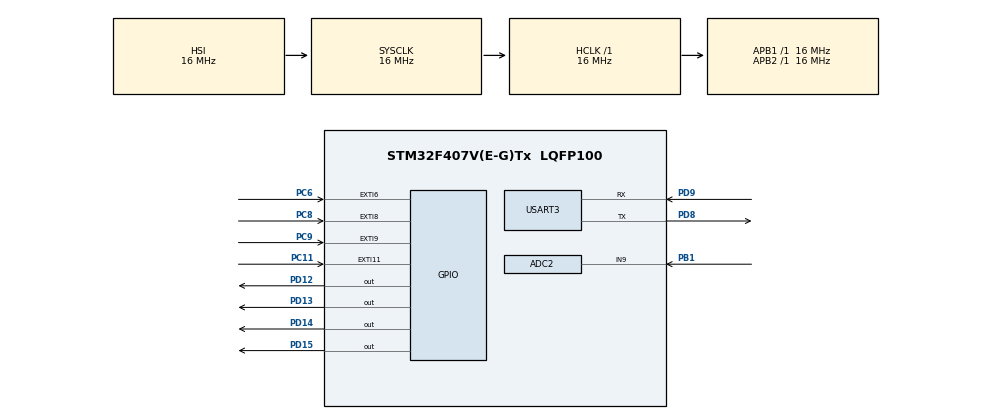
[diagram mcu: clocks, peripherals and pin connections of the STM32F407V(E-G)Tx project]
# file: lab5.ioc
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ADC2.Channel-0\#ChannelRegularConversion=ADC_CHANNEL_9
ADC2.ClockPrescaler=ADC_CLOCK_SYNC_PCLK_DIV8
ADC2.ContinuousConvMode=ENABLE
ADC2.NbrOfConversionFlag=1
ADC2.Rank-0\#ChannelRegularConversion=1
ADC2.SamplingTime-0\#ChannelRegularConversion=ADC_SAMPLETIME_480CYCLES
Mcu.Family=STM32F4
Mcu.Name=STM32F407V(E-G)Tx
Mcu.Package=LQFP100
NVIC.EXTI15_10_IRQn=true\:0\:0\:false\:false\:true\:true\:true
NVIC.EXTI9_5_IRQn=true\:0\:0\:false\:false\:true\:true\:true
NVIC.PriorityGroup=NVIC_PRIORITYGROUP_4
NVIC.TIM4_IRQn=true\:0\:0\:false\:false\:true\:true\:true
PB1.Signal=ADCx_IN9
PC11.Signal=GPXTI11
PC6.Signal=GPXTI6
PC8.Signal=GPXTI8
PC9.Signal=GPXTI9
PD12.Signal=GPIO_Output
PD13.Signal=GPIO_Output
PD14.Signal=GPIO_Output
PD15.Signal=GPIO_Output
PD8.Mode=Asynchronous
PD8.Signal=USART3_TX
PD9.Mode=Asynchronous
PD9.Signal=USART3_RX
ProjectManager.HeapSize=0x200
ProjectManager.StackSize=0x400
ProjectManager.TargetToolchain=STM32CubeIDE
RCC.AHBFreq_Value=16000000
RCC.APB1Freq_Value=16000000
RCC.APB2Freq_Value=16000000
RCC.CortexFreq_Value=16000000
RCC.HSE_VALUE=25000000
RCC.HSI_VALUE=16000000
RCC.LSE_VALUE=32768
RCC.SYSCLKFreq_VALUE=16000000
RCC.VCOOutputFreq_Value=192000000
SH.ADCx_IN9.0=ADC2_IN9,IN9
TIM4.AutoReloadPreload=TIM_AUTORELOAD_PRELOAD_ENABLE
TIM4.Period=10000
TIM4.Prescaler=8000-1
USART3.VirtualMode=VM_ASYNC
VP_TIM4_VS_ClockSourceINT.Mode=Internal
board=custom

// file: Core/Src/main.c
/* USER CODE BEGIN Header */
/**
  ******************************************************************************
  * @file           : main.c
  * @brief          : Main program body
  ******************************************************************************
  * @attention
  *
  * <h2><center>&copy; Copyright (c) 2021 STMicroelectronics.
  * All rights reserved.</center></h2>
  *
  * This software component is licensed by ST under BSD 3-Clause license,
  * the "License"; You may not use this file except in compliance with the
  * License. You may obtain a copy of the License at:
  *                        opensource.org/licenses/BSD-3-Clause
  *
  ******************************************************************************
  */
/* USER CODE END Header */
#include "main.h"

/* USER CODE BEGIN Includes */
#include <stdio.h>
/* USER CODE END Includes */

ADC_HandleTypeDef hadc2;

TIM_HandleTypeDef htim4;

UART_HandleTypeDef huart3;

void SystemClock_Config(void);
static void MX_GPIO_Init(void);
static void MX_TIM4_Init(void);
static void MX_USART3_UART_Init(void);
static void MX_ADC2_Init(void);

/* USER CODE BEGIN 0 */

uint8_t rcvBuf[1];
HAL_StatusTypeDef result;

uint32_t adcValue = 0;
volatile HAL_StatusTypeDef adcPoolResult;

uint8_t flag = 0;
uint8_t buf[32];

enum
{
	Green,
	Orange,
	Red,
	Blue,
	OFF = 0,
	ON
};

void Flag_set()
{
	flag = ON;
}

void Output_temp()//every 5 second
{
	if(flag == ON)
	{
		HAL_ADC_Start(&hadc2);
		adcPoolResult = HAL_ADC_PollForConversion(&hadc2, 1);

		if(adcPoolResult == HAL_OK)
		  adcValue = HAL_ADC_GetValue(&hadc2);
		HAL_ADC_Stop(&hadc2);
		adcValue = (2700-adcValue)/27;

		HAL_UART_Transmit(&huart3, buf, sprintf((char * )buf, "Temp = %ld°C\r\n", adcValue), 10);

		flag = OFF;
	}
}

void Switch_Led(int8_t num)
{
	switch( num )
	{
		case Green:
			HAL_GPIO_TogglePin(GPIOD, GPIO_PIN_12);
			if(HAL_GPIO_ReadPin(GPIOD, GPIO_PIN_12) == GPIO_PIN_SET)
				HAL_UART_Transmit(&huart3, (uint8_t *)"Green ON\r\n", 8+2, 10);
			else
				HAL_UART_Transmit(&huart3, (uint8_t *)"Green OFF\r\n", 9+2, 10);
			break;

		case Orange:
			HAL_GPIO_TogglePin(GPIOD, GPIO_PIN_13);
			if(HAL_GPIO_ReadPin(GPIOD, GPIO_PIN_13) == GPIO_PIN_SET)
				HAL_UART_Transmit(&huart3, (uint8_t *)"Orange ON\r\n", 9+2, 10);
			else
				HAL_UART_Transmit(&huart3, (uint8_t *)"Orange OFF\r\n", 10+2, 10);
			break;

		case Red:
			HAL_GPIO_TogglePin(GPIOD, GPIO_PIN_14);
			if(HAL_GPIO_ReadPin(GPIOD, GPIO_PIN_14) == GPIO_PIN_SET)
				HAL_UART_Transmit(&huart3, (uint8_t *)"Red ON\r\n", 6+2, 10);
			else
				HAL_UART_Transmit(&huart3, (uint8_t *)"Red OFF\r\n", 7+2, 10);
		    break;

		case Blue:
			HAL_GPIO_TogglePin(GPIOD, GPIO_PIN_15);
			if(HAL_GPIO_ReadPin(GPIOD, GPIO_PIN_15) == GPIO_PIN_SET)
				HAL_UART_Transmit(&huart3, (uint8_t *)"Blue ON\r\n", 7+2, 10);
			else
				HAL_UART_Transmit(&huart3, (uint8_t *)"Blue OFF\r\n", 8+2, 10);
		    break;

		default:
			HAL_UART_Transmit(&huart3, (uint8_t *)"Error\r\n", 5+2, 10);
		    break;
	}
}

void Uart_read()
{
	  result = HAL_UART_Receive(&huart3, rcvBuf, 1, 10);

	  if(result == HAL_OK)
	  {
		  switch (rcvBuf[0])
		  {
		  	  case '1':
		  		  Switch_Led(Green);
		  		  break;

		  	  case '2':
		  		  Switch_Led(Orange);
		  		  break;

		  	  case '3':
		  		  Switch_Led(Red);
		  		  break;

		  	  case '4':
		  		  Switch_Led(Blue);
		  		  break;

		  	  default:
		  		  HAL_UART_Transmit(&huart3, (uint8_t *)"Error\r\n", 5+2, 10);
		  		  break;
		  }
	  }
}

void HAL_GPIO_EXTI_Callback(uint16_t GPIO_PIN)
{
	if (GPIO_PIN == GPIO_PIN_11)
	{
		Switch_Led(Blue);
	}

	if (GPIO_PIN == GPIO_PIN_9)
	{
		Switch_Led(Orange);
	}

	if (GPIO_PIN == GPIO_PIN_6)
	{
		Switch_Led(Red);
	}

	if (GPIO_PIN == GPIO_PIN_8)
	{
		Switch_Led(Green);
	}
}

/* USER CODE END 0 */

int main(void)
{

  /* MCU Configuration--------------------------------------------------------*/

  /* Reset of all peripherals, Initializes the Flash interface and the Systick. */
  HAL_Init();

  /* Configure the system clock */
  SystemClock_Config();

  /* Initialize all configured peripherals */
  MX_GPIO_Init();
  MX_TIM4_Init();
  MX_USART3_UART_Init();
  MX_ADC2_Init();
  /* USER CODE BEGIN 2 */
  HAL_TIM_Base_Start_IT(&htim4);

  /* USER CODE END 2 */

  /* Infinite loop */
  /* USER CODE BEGIN WHILE */
  while (1)
  {
	  Uart_read();
	  Output_temp();

    /* USER CODE END WHILE */

  }
}

void SystemClock_Config(void)
{
  RCC_OscInitTypeDef RCC_OscInitStruct = {0};
  RCC_ClkInitTypeDef RCC_ClkInitStruct = {0};

  /** Configure the main internal regulator output voltage
  */
  __HAL_RCC_PWR_CLK_ENABLE();
  __HAL_PWR_VOLTAGESCALING_CONFIG(PWR_REGULATOR_VOLTAGE_SCALE1);
  /** Initializes the RCC Oscillators according to the specified parameters
  * in the RCC_OscInitTypeDef structure.
  */
  RCC_OscInitStruct.OscillatorType = RCC_OSCILLATORTYPE_HSI;
  RCC_OscInitStruct.HSIState = RCC_HSI_ON;
  RCC_OscInitStruct.HSICalibrationValue = RCC_HSICALIBRATION_DEFAULT;
  RCC_OscInitStruct.PLL.PLLState = RCC_PLL_NONE;
  if (HAL_RCC_OscConfig(&RCC_OscInitStruct) != HAL_OK)
  {
    Error_Handler();
  }
  /** Initializes the CPU, AHB and APB buses clocks
  */
  RCC_ClkInitStruct.ClockType = RCC_CLOCKTYPE_HCLK|RCC_CLOCKTYPE_SYSCLK
                              |RCC_CLOCKTYPE_PCLK1|RCC_CLOCKTYPE_PCLK2;
  RCC_ClkInitStruct.SYSCLKSource = RCC_SYSCLKSOURCE_HSI;
  RCC_ClkInitStruct.AHBCLKDivider = RCC_SYSCLK_DIV1;
  RCC_ClkInitStruct.APB1CLKDivider = RCC_HCLK_DIV1;
  RCC_ClkInitStruct.APB2CLKDivider = RCC_HCLK_DIV1;

  if (HAL_RCC_ClockConfig(&RCC_ClkInitStruct, FLASH_LATENCY_0) != HAL_OK)
  {
    Error_Handler();
  }
}

static void MX_ADC2_Init(void)
{

  ADC_ChannelConfTypeDef sConfig = {0};

  /** Configure the global features of the ADC (Clock, Resolution, Data Alignment and number of conversion)
  */
  hadc2.Instance = ADC2;
  hadc2.Init.ClockPrescaler = ADC_CLOCK_SYNC_PCLK_DIV8;
  hadc2.Init.Resolution = ADC_RESOLUTION_12B;
  hadc2.Init.ScanConvMode = DISABLE;
  hadc2.Init.ContinuousConvMode = ENABLE;
  hadc2.Init.DiscontinuousConvMode = DISABLE;
  hadc2.Init.ExternalTrigConvEdge = ADC_EXTERNALTRIGCONVEDGE_NONE;
  hadc2.Init.ExternalTrigConv = ADC_SOFTWARE_START;
  hadc2.Init.DataAlign = ADC_DATAALIGN_RIGHT;
  hadc2.Init.NbrOfConversion = 1;
  hadc2.Init.DMAContinuousRequests = DISABLE;
  hadc2.Init.EOCSelection = ADC_EOC_SINGLE_CONV;
  if (HAL_ADC_Init(&hadc2) != HAL_OK)
  {
    Error_Handler();
  }
  /** Configure for the selected ADC regular channel its corresponding rank in the sequencer and its sample time.
  */
  sConfig.Channel = ADC_CHANNEL_9;
  sConfig.Rank = 1;
  sConfig.SamplingTime = ADC_SAMPLETIME_480CYCLES;
  if (HAL_ADC_ConfigChannel(&hadc2, &sConfig) != HAL_OK)
  {
    Error_Handler();
  }

}

static void MX_TIM4_Init(void)
{

  TIM_ClockConfigTypeDef sClockSourceConfig = {0};
  TIM_MasterConfigTypeDef sMasterConfig = {0};

  htim4.Instance = TIM4;
  htim4.Init.Prescaler = 8000-1;
  htim4.Init.CounterMode = TIM_COUNTERMODE_UP;
  htim4.Init.Period = 10000;
  htim4.Init.ClockDivision = TIM_CLOCKDIVISION_DIV1;
  htim4.Init.AutoReloadPreload = TIM_AUTORELOAD_PRELOAD_ENABLE;
  if (HAL_TIM_Base_Init(&htim4) != HAL_OK)
  {
    Error_Handler();
  }
  sClockSourceConfig.ClockSource = TIM_CLOCKSOURCE_INTERNAL;
  if (HAL_TIM_ConfigClockSource(&htim4, &sClockSourceConfig) != HAL_OK)
  {
    Error_Handler();
  }
  sMasterConfig.MasterOutputTrigger = TIM_TRGO_RESET;
  sMasterConfig.MasterSlaveMode = TIM_MASTERSLAVEMODE_DISABLE;
  if (HAL_TIMEx_MasterConfigSynchronization(&htim4, &sMasterConfig) != HAL_OK)
  {
    Error_Handler();
  }

}

static void MX_USART3_UART_Init(void)
{

  huart3.Instance = USART3;
  huart3.Init.BaudRate = 115200;
  huart3.Init.WordLength = UART_WORDLENGTH_8B;
  huart3.Init.StopBits = UART_STOPBITS_1;
  huart3.Init.Parity = UART_PARITY_NONE;
  huart3.Init.Mode = UART_MODE_TX_RX;
  huart3.Init.HwFlowCtl = UART_HWCONTROL_NONE;
  huart3.Init.OverSampling = UART_OVERSAMPLING_16;
  if (HAL_UART_Init(&huart3) != HAL_OK)
  {
    Error_Handler();
  }

}

static void MX_GPIO_Init(void)
{
  GPIO_InitTypeDef GPIO_InitStruct = {0};

  /* GPIO Ports Clock Enable */
  __HAL_RCC_GPIOB_CLK_ENABLE();
  __HAL_RCC_GPIOD_CLK_ENABLE();
  __HAL_RCC_GPIOC_CLK_ENABLE();

  /*Configure GPIO pin Output Level */
  HAL_GPIO_WritePin(GPIOD, GPIO_PIN_12|GPIO_PIN_13|GPIO_PIN_14|GPIO_PIN_15, GPIO_PIN_RESET);

  /*Configure GPIO pins : PD12 PD13 PD14 PD15 */
  GPIO_InitStruct.Pin = GPIO_PIN_12|GPIO_PIN_13|GPIO_PIN_14|GPIO_PIN_15;
  GPIO_InitStruct.Mode = GPIO_MODE_OUTPUT_PP;
  GPIO_InitStruct.Pull = GPIO_NOPULL;
  GPIO_InitStruct.Speed = GPIO_SPEED_FREQ_LOW;
  HAL_GPIO_Init(GPIOD, &GPIO_InitStruct);

  /*Configure GPIO pins : PC6 PC8 PC9 PC11 */
  GPIO_InitStruct.Pin = GPIO_PIN_6|GPIO_PIN_8|GPIO_PIN_9|GPIO_PIN_11;
  GPIO_InitStruct.Mode = GPIO_MODE_IT_RISING;
  GPIO_InitStruct.Pull = GPIO_NOPULL;
  HAL_GPIO_Init(GPIOC, &GPIO_InitStruct);

  /* EXTI interrupt init*/
  HAL_NVIC_SetPriority(EXTI9_5_IRQn, 0, 0);
  HAL_NVIC_EnableIRQ(EXTI9_5_IRQn);

  HAL_NVIC_SetPriority(EXTI15_10_IRQn, 0, 0);
  HAL_NVIC_EnableIRQ(EXTI15_10_IRQn);

}

void Error_Handler(void)
{
  __disable_irq();
  while (1)
  {
  }
}

/************************ (C) COPYRIGHT STMicroelectronics *****END OF FILE****/
